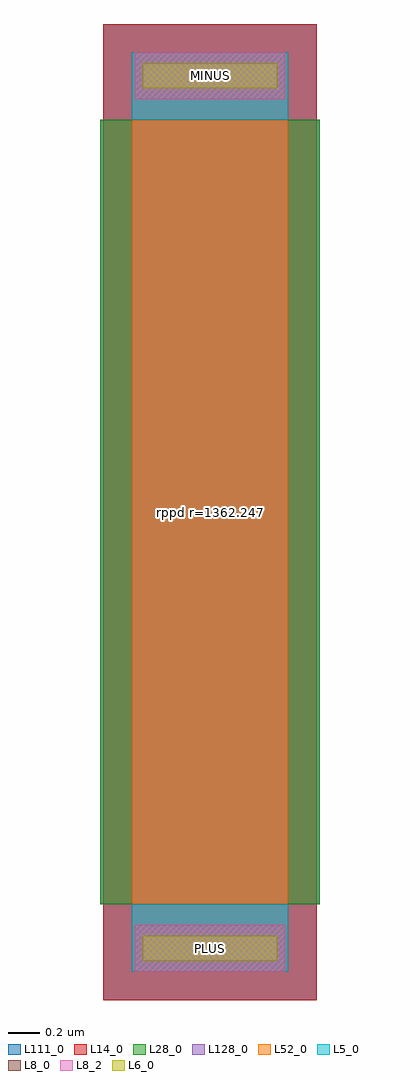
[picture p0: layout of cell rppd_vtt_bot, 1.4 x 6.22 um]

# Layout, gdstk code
import gdstk
lib = gdstk.Library(unit=1e-6, precision=1e-09)
def R(c, l, rs):  # rectangles x0, y0, x1, y1
    for r in rs: c.add(gdstk.rectangle(r[:2], r[2:], *l))
L5_0 = (5, 0)
L6_0 = (6, 0)
L8_0 = (8, 0)
L8_2 = (8, 2)
L14_0 = (14, 0)
L28_0 = (28, 0)
L52_0 = (52, 0)
L111_0 = (111, 0)
L128_0 = (128, 0)

rppd_vtt_bot = lib.new_cell('rppd_vtt_bot')
R(rppd_vtt_bot, L5_0, [(0,-0.43,1,-0.2), (0,-0.2,1,0), (0,5,1,5.2), (0,5.2,1,5.43)])
R(rppd_vtt_bot, L6_0, [(0.07,-0.36,0.93,-0.2), (0.07,5.2,0.93,5.36)])
R(rppd_vtt_bot, L8_0, [(0.02,-0.43,0.98,-0.13), (0.02,5.13,0.98,5.43)])
R(rppd_vtt_bot, L8_2, [(0.02,-0.43,0.98,-0.13), (0.02,5.13,0.98,5.43)])
R(rppd_vtt_bot, L14_0, [(-0.18,-0.61,1.18,0), (-0.18,0,1.18,5), (-0.18,5,1.18,5.61)])
R(rppd_vtt_bot, L28_0, [(-0.2,0,1.2,5)])
R(rppd_vtt_bot, L52_0, [(0,0,1,5)])
R(rppd_vtt_bot, L111_0, [(-0.18,-0.61,1.18,0), (-0.2,0,1.2,5), (-0.18,5,1.18,5.61)])
R(rppd_vtt_bot, L128_0, [(0,0,1,5)])
rppd_vtt_bot.add(gdstk.Label('rppd r=1362.247', (0.5,2.5), layer=63, texttype=0))
rppd_vtt_bot.add(gdstk.Label('rppd', (0.5,2.5), layer=52, texttype=0))
rppd_vtt_bot.add(gdstk.Label('PLUS', (0.5,-0.28), layer=8, texttype=25))
rppd_vtt_bot.add(gdstk.Label('MINUS', (0.5,5.28), layer=8, texttype=25))

lib.write_gds('rppd_vtt_bot.gds')
